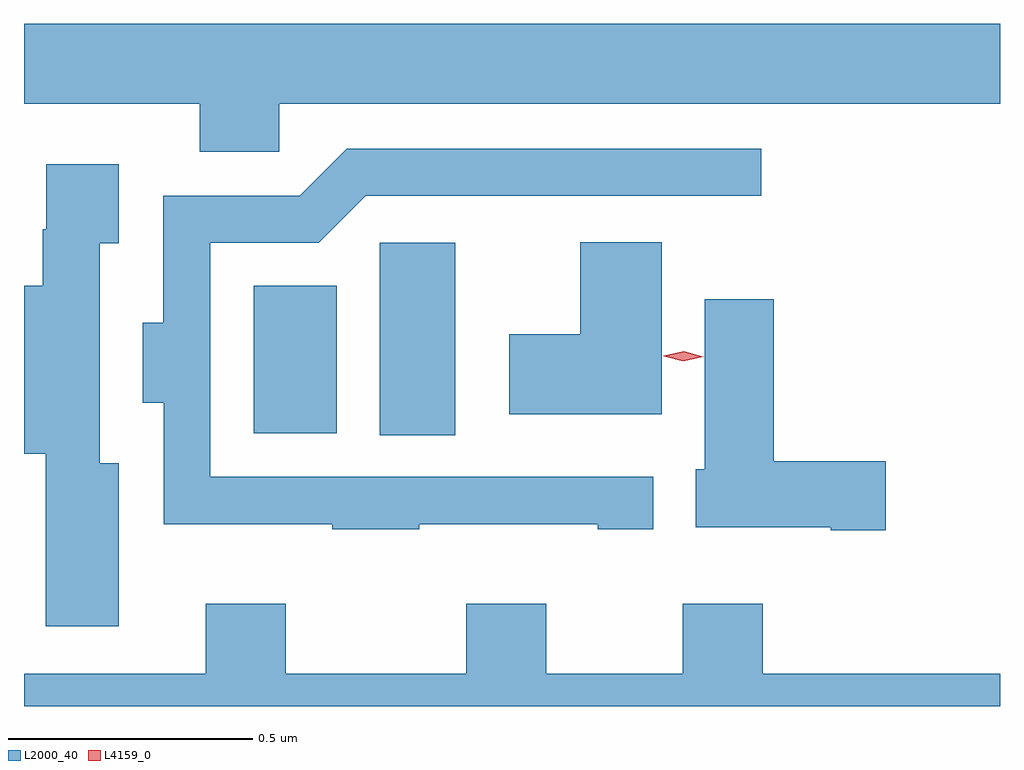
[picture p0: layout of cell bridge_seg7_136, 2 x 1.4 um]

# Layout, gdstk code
import gdstk
lib = gdstk.Library(unit=1e-6, precision=1e-09)
def R(c, l, rs):  # rectangles x0, y0, x1, y1
    for r in rs: c.add(gdstk.rectangle(r[:2], r[2:], *l))
def P(c, l, *ps):  # polygons
    for p in ps: c.add(gdstk.Polygon(p, *l))
L2000_40 = (2000, 40)
L4159_0 = (4159, 0)

bridge_seg7_136 = lib.new_cell('bridge_seg7_136')
R(bridge_seg7_136, L2000_40, [(834.914,1079.857,835.069,1080.252), (834.656,1079.861,834.826,1080.163)])
P(bridge_seg7_136, L2000_40, [(834.708,1080.536),(836.185,1080.536),(836.185,1080.7),(834.185,1080.7),(834.185,1080.536),(834.545,1080.536),(834.545,1080.438),(834.708,1080.438)],
  [(834.995,1079.675),(835.361,1079.675),(835.361,1079.664),(835.474,1079.664),(835.474,1079.772),(834.567,1079.772),(834.567,1080.252),(834.789,1080.252),(834.885,1080.348),(835.696,1080.348),(835.696,1080.444),(834.846,1080.444),(834.75,1080.348),(834.47,1080.348),(834.47,1080.088),(834.428,1080.088),(834.428,1079.924),(834.471,1079.924),(834.471,1079.675),(834.817,1079.675),(834.817,1079.664),(834.995,1079.664)],
  [(834.379,1079.8),(834.34,1079.8),(834.34,1080.251),(834.379,1080.251),(834.379,1080.412),(834.231,1080.412),(834.231,1080.279),(834.223,1080.279),(834.223,1080.163),(834.185,1080.163),(834.185,1079.819),(834.23,1079.819),(834.23,1079.466),(834.379,1079.466)],
  [(835.492,1080.253),(835.325,1080.253),(835.325,1080.064),(835.179,1080.064),(835.179,1079.9),(835.492,1079.9)],
  [(835.951,1079.804),(835.721,1079.804),(835.721,1080.136),(835.58,1080.136),(835.58,1079.787),(835.562,1079.787),(835.562,1079.669),(835.838,1079.669),(835.838,1079.662),(835.951,1079.662)],
  [(836.185,1079.368),(835.699,1079.368),(835.699,1079.512),(835.535,1079.512),(835.535,1079.368),(835.255,1079.368),(835.255,1079.512),(835.091,1079.512),(835.091,1079.368),(834.721,1079.368),(834.721,1079.512),(834.557,1079.512),(834.557,1079.368),(834.185,1079.368),(834.185,1079.302),(836.185,1079.302)])
P(bridge_seg7_136, L4159_0, [(835.536,1080.009),(835.496,1080.019),(835.495,1080.02),(835.496,1080.02),(835.537,1080.029),(835.577,1080.018),(835.578,1080.018),(835.577,1080.018)])

lib.write_gds('bridge_seg7_136.gds')
